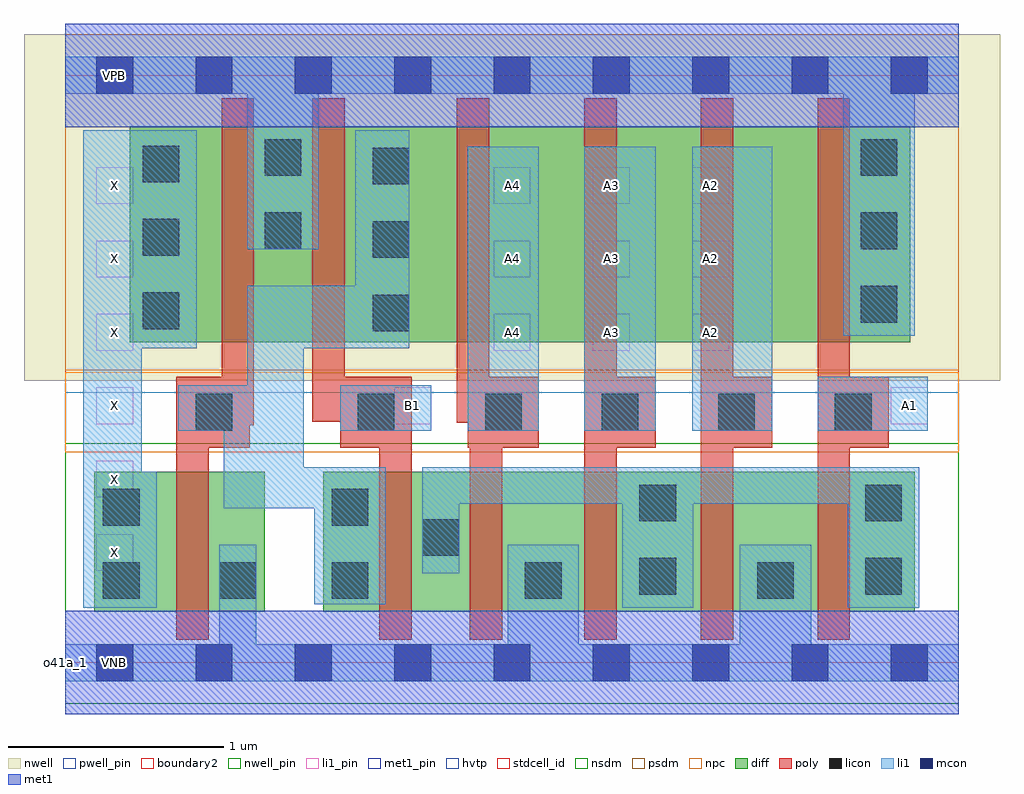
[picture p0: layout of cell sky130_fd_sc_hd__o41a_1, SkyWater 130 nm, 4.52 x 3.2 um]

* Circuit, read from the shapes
.subckt sky130_fd_sc_hd__o41a_1 A1 A2 A3 A4 B1 VGND VNB VPB VPWR X
XM1 VGND n1 X VNB sky130_fd_pr__nfet_01v8 w=0.65 l=0.15
XM2 n2 B1 n1 VNB sky130_fd_pr__nfet_01v8 w=0.65 l=0.15
XM3 VGND A4 n2 VNB sky130_fd_pr__nfet_01v8 w=0.65 l=0.15
XM4 n2 A3 VGND VNB sky130_fd_pr__nfet_01v8 w=0.65 l=0.15
XM5 VGND A2 n2 VNB sky130_fd_pr__nfet_01v8 w=0.65 l=0.15
XM6 n2 A1 VGND VNB sky130_fd_pr__nfet_01v8 w=0.65 l=0.15
XM7 VPWR n1 X VPB sky130_fd_pr__pfet_01v8_hvt w=1 l=0.15
XM8 n1 B1 VPWR VPB sky130_fd_pr__pfet_01v8_hvt w=1 l=0.15
XM9 n3 A4 n1 VPB sky130_fd_pr__pfet_01v8_hvt w=1 l=0.15
XM10 n4 A3 n3 VPB sky130_fd_pr__pfet_01v8_hvt w=1 l=0.15
XM11 n5 A2 n4 VPB sky130_fd_pr__pfet_01v8_hvt w=1 l=0.15
XM12 VPWR A1 n5 VPB sky130_fd_pr__pfet_01v8_hvt w=1 l=0.15
.ends

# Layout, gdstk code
import gdstk
lib = gdstk.Library(unit=1e-6, precision=1e-09)
def R(c, l, rs):  # rectangles x0, y0, x1, y1
    for r in rs: c.add(gdstk.rectangle(r[:2], r[2:], *l))
def A(c, l, x, y, w, h, nx, ny, dx, dy):  # array of equal rectangles
    R(c, l, [(x+i*dx, y+j*dy, x+i*dx+w, y+j*dy+h) for i in range(nx) for j in range(ny)])
def P(c, l, *ps):  # polygons
    for p in ps: c.add(gdstk.Polygon(p, *l))
nwell_pin = (64, 16)
nwell = (64, 20)
diff = (65, 20)
poly = (66, 20)
licon = (66, 44)
li1_pin = (67, 16)
li1 = (67, 20)
mcon = (67, 44)
met1_pin = (68, 16)
met1 = (68, 20)
hvtp = (78, 44)
stdcell_id = (81, 4)
nsdm = (93, 44)
psdm = (94, 20)
npc = (95, 20)
pwell_pin = (122, 16)
boundary2 = (236, 0)

sky130_fd_sc_hd__o41a_1 = lib.new_cell('sky130_fd_sc_hd__o41a_1')
R(sky130_fd_sc_hd__o41a_1, nwell_pin, [(0.145,2.635,0.315,2.805)])
R(sky130_fd_sc_hd__o41a_1, nwell, [(-0.19,1.305,4.33,2.91)])
R(sky130_fd_sc_hd__o41a_1, diff, [(0.135,0.235,0.925,0.885), (1.195,0.235,3.935,0.885), (0.3,1.485,3.915,2.485)])
R(sky130_fd_sc_hd__o41a_1, poly, [(0.515,0.105,0.665,1.325)])
P(sky130_fd_sc_hd__o41a_1, poly, [(0.875,2.615),(0.725,2.615),(0.725,1.325),(0.525,1.325),(0.525,0.995),(0.855,0.995),(0.855,1.1),(0.875,1.1)],
  [(2.735,1.325),(2.555,1.325),(2.555,2.615),(2.405,2.615),(2.405,0.105),(2.555,0.105),(2.555,0.995),(2.735,0.995)],
  [(2.195,1.325),(1.965,1.325),(1.965,2.615),(1.815,2.615),(1.815,1.11),(1.865,1.11),(1.865,0.995),(1.875,0.995),(1.875,0.105),(2.025,0.105),(2.025,0.995),(2.195,0.995)],
  [(3.275,1.325),(3.095,1.325),(3.095,2.615),(2.945,2.615),(2.945,0.105),(3.095,0.105),(3.095,0.995),(3.275,0.995)],
  [(1.605,1.325),(1.295,1.325),(1.295,2.615),(1.145,2.615),(1.145,1.115),(1.275,1.115),(1.275,0.995),(1.455,0.995),(1.455,0.105),(1.605,0.105)],
  [(3.815,1.325),(3.635,1.325),(3.635,2.615),(3.485,2.615),(3.485,0.105),(3.635,0.105),(3.635,0.995),(3.815,0.995)])
A(sky130_fd_sc_hd__o41a_1, licon, 1.945, 1.075, 0.17, 0.17, 4, 1, 0.54, 0)
A(sky130_fd_sc_hd__o41a_1, licon, 1.425, 1.535, 0.17, 0.17, 1, 3, 0, 0.34)
A(sky130_fd_sc_hd__o41a_1, licon, 0.36, 1.545, 0.17, 0.17, 1, 3, 0, 0.34)
A(sky130_fd_sc_hd__o41a_1, licon, 3.685, 1.575, 0.17, 0.17, 1, 3, 0, 0.34)
R(sky130_fd_sc_hd__o41a_1, licon, [(0.175,0.295,0.345,0.465), (0.715,0.295,0.885,0.465), (1.235,0.295,1.405,0.465), (2.13,0.295,2.3,0.465), (3.205,0.295,3.375,0.465), (2.66,0.315,2.83,0.485), (3.705,0.315,3.875,0.485), (1.655,0.495,1.825,0.665), (0.175,0.635,0.345,0.805), (1.235,0.635,1.405,0.805), (2.66,0.655,2.83,0.825), (3.705,0.655,3.875,0.825), (0.605,1.075,0.775,1.245), (1.355,1.075,1.525,1.245), (0.925,1.915,1.095,2.085), (0.925,2.255,1.095,2.425)])
A(sky130_fd_sc_hd__o41a_1, li1_pin, 0.145, 0.425, 0.17, 0.17, 1, 6, 0, 0.34)
A(sky130_fd_sc_hd__o41a_1, li1_pin, 1.985, 1.445, 0.17, 0.17, 3, 3, 0.46, 0.34)
R(sky130_fd_sc_hd__o41a_1, li1_pin, [(1.525,1.105,1.695,1.275), (3.825,1.105,3.995,1.275)])
R(sky130_fd_sc_hd__o41a_1, li1, [(1.275,1.075,1.695,1.285), (1.865,1.075,2.195,2.39), (2.405,1.075,2.735,2.39), (2.905,1.075,3.275,2.39), (3.485,1.075,3.995,1.325)])
P(sky130_fd_sc_hd__o41a_1, li1, [(0.61,2.465),(0.085,2.465),(0.085,0.255),(0.425,0.255),(0.425,0.885),(0.355,0.885),(0.355,1.455),(0.61,1.455)],
  [(1.595,2.465),(1.345,2.465),(1.345,1.745),(0.845,1.745),(0.845,1.285),(0.525,1.285),(0.525,1.075),(0.735,1.075),(0.735,0.715),(1.155,0.715),(1.155,0.27),(1.485,0.27),(1.485,0.905),(1.105,0.905),(1.105,1.455),(1.595,1.455)],
  [(3.955,0.905),(1.655,0.905),(1.655,0.415),(1.825,0.415),(1.825,0.735),(2.58,0.735),(2.58,0.255),(2.91,0.255),(2.91,0.735),(3.625,0.735),(3.625,0.255),(3.955,0.255)],
  [(4.14,0.085),(3.455,0.085),(3.455,0.545),(3.125,0.545),(3.125,0.085),(2.38,0.085),(2.38,0.545),(2.05,0.545),(2.05,0.085),(0.885,0.085),(0.885,0.545),(0.715,0.545),(0.715,0.085),(0,0.085),(0,-0.085),(4.14,-0.085)],
  [(4.14,2.805),(0,2.805),(0,2.635),(0.845,2.635),(0.845,1.915),(1.175,1.915),(1.175,2.635),(3.605,2.635),(3.605,1.515),(3.935,1.515),(3.935,2.635),(4.14,2.635)])
A(sky130_fd_sc_hd__o41a_1, mcon, 0.145, -0.085, 0.17, 0.17, 9, 2, 0.46, 2.72)
R(sky130_fd_sc_hd__o41a_1, met1_pin, [(0.145,-0.085,0.315,0.085), (0.145,2.635,0.315,2.805)])
R(sky130_fd_sc_hd__o41a_1, hvtp, [(0,1.25,4.14,2.72)])
R(sky130_fd_sc_hd__o41a_1, stdcell_id, [(0,0,4.14,2.72)])
R(sky130_fd_sc_hd__o41a_1, nsdm, [(0,-0.19,4.14,1.015)])
R(sky130_fd_sc_hd__o41a_1, psdm, [(0,1.355,4.14,2.91)])
R(sky130_fd_sc_hd__o41a_1, npc, [(0,0.975,4.14,1.345)])
R(sky130_fd_sc_hd__o41a_1, pwell_pin, [(0.145,-0.085,0.315,0.085)])
R(sky130_fd_sc_hd__o41a_1, boundary2, [(0,0,4.14,2.72)])
sky130_fd_sc_hd__o41a_1.add(gdstk.FlexPath([(0,2.72),(4.14,2.72)], 0.48, ends="flush", simple_path=True, layer=68, datatype=20))  # met1
sky130_fd_sc_hd__o41a_1.add(gdstk.FlexPath([(0,0),(4.14,0)], 0.48, ends="flush", simple_path=True, layer=68, datatype=20))  # met1
sky130_fd_sc_hd__o41a_1.add(gdstk.Label('A1', (3.91,1.19), layer=67, texttype=5))
sky130_fd_sc_hd__o41a_1.add(gdstk.Label('A2', (2.99,1.53), layer=67, texttype=5))
sky130_fd_sc_hd__o41a_1.add(gdstk.Label('A2', (2.99,1.87), layer=67, texttype=5))
sky130_fd_sc_hd__o41a_1.add(gdstk.Label('A2', (2.99,2.21), layer=67, texttype=5))
sky130_fd_sc_hd__o41a_1.add(gdstk.Label('A3', (2.53,1.53), layer=67, texttype=5))
sky130_fd_sc_hd__o41a_1.add(gdstk.Label('A3', (2.53,1.87), layer=67, texttype=5))
sky130_fd_sc_hd__o41a_1.add(gdstk.Label('A3', (2.53,2.21), layer=67, texttype=5))
sky130_fd_sc_hd__o41a_1.add(gdstk.Label('A4', (2.07,2.21), layer=67, texttype=5))
sky130_fd_sc_hd__o41a_1.add(gdstk.Label('A4', (2.07,1.87), layer=67, texttype=5))
sky130_fd_sc_hd__o41a_1.add(gdstk.Label('A4', (2.07,1.53), layer=67, texttype=5))
sky130_fd_sc_hd__o41a_1.add(gdstk.Label('B1', (1.61,1.19), layer=67, texttype=5))
sky130_fd_sc_hd__o41a_1.add(gdstk.Label('X', (0.23,2.21), layer=67, texttype=5))
sky130_fd_sc_hd__o41a_1.add(gdstk.Label('X', (0.23,1.87), layer=67, texttype=5))
sky130_fd_sc_hd__o41a_1.add(gdstk.Label('X', (0.23,1.53), layer=67, texttype=5))
sky130_fd_sc_hd__o41a_1.add(gdstk.Label('X', (0.23,0.51), layer=67, texttype=5))
sky130_fd_sc_hd__o41a_1.add(gdstk.Label('X', (0.23,0.85), layer=67, texttype=5))
sky130_fd_sc_hd__o41a_1.add(gdstk.Label('X', (0.23,1.19), layer=67, texttype=5))
sky130_fd_sc_hd__o41a_1.add(gdstk.Label('VPB', (0.23,2.72), layer=64, texttype=5))
sky130_fd_sc_hd__o41a_1.add(gdstk.Label('VNB', (0.23,0), layer=64, texttype=59))
sky130_fd_sc_hd__o41a_1.add(gdstk.Label('VGND', (0.23,0), layer=68, texttype=5))
sky130_fd_sc_hd__o41a_1.add(gdstk.Label('VPWR', (0.23,2.72), layer=68, texttype=5))
sky130_fd_sc_hd__o41a_1.add(gdstk.Label('o41a_1', (0,0), layer=83, texttype=44))

lib.write_gds('sky130_fd_sc_hd__o41a_1.gds')
